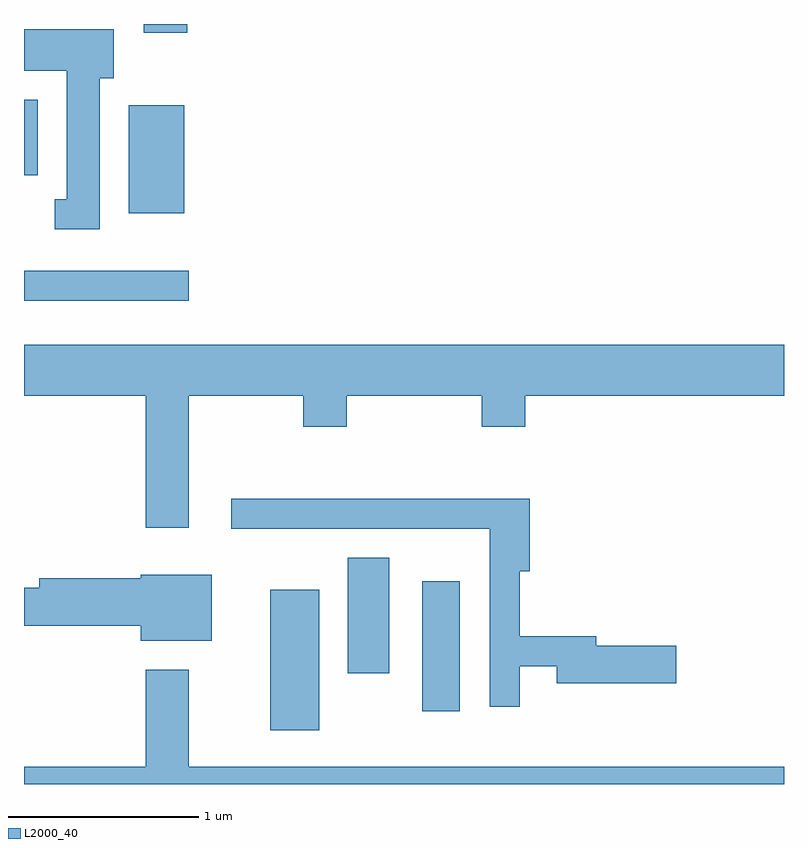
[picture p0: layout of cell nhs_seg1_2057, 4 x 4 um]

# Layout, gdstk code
import gdstk
lib = gdstk.Library(unit=1e-6, precision=1e-09)
def R(c, l, rs):  # rectangles x0, y0, x1, y1
    for r in rs: c.add(gdstk.rectangle(r[:2], r[2:], *l))
def P(c, l, *ps):  # polygons
    for p in ps: c.add(gdstk.Polygon(p, *l))
L2000_40 = (2000, 40)

nhs_seg1_2057 = lib.new_cell('nhs_seg1_2057')
R(nhs_seg1_2057, L2000_40, [(248.906,939.996,249.164,940.734), (249.706,940.096,249.904,940.779), (249.316,940.296,249.534,940.904), (247.611,942.256,248.478,942.414), (248.161,942.716,248.454,943.284), (247.611,942.916,247.684,943.314), (248.241,943.666,248.469,943.712)])
P(nhs_seg1_2057, L2000_40, [(248.009,943.426),(248.084,943.426),(248.084,943.684),(247.611,943.684),(247.611,943.466),(247.836,943.466),(247.836,942.789),(247.773,942.789),(247.773,942.631),(248.009,942.631)],
  [(248.479,941.756),(249.081,941.756),(249.081,941.591),(249.309,941.591),(249.309,941.756),(250.021,941.756),(250.021,941.591),(250.249,941.591),(250.249,941.756),(251.611,941.756),(251.611,942.024),(247.611,942.024),(247.611,941.756),(248.251,941.756),(248.251,941.061),(248.479,941.061)],
  [(250.219,940.331),(250.416,940.331),(250.416,940.241),(251.044,940.241),(251.044,940.439),(250.624,940.439),(250.624,940.489),(250.219,940.489),(250.219,940.831),(250.274,940.831),(250.274,941.214),(248.703,941.214),(248.703,941.056),(250.061,941.056),(250.061,940.118),(250.219,940.118)],
  [(248.599,940.814),(248.226,940.814),(248.226,940.794),(247.691,940.794),(247.691,940.744),(247.611,940.744),(247.611,940.546),(248.226,940.546),(248.226,940.466),(248.599,940.466)],
  [(251.611,939.804),(248.479,939.804),(248.479,940.314),(248.251,940.314),(248.251,939.804),(247.611,939.804),(247.611,939.712),(251.611,939.712)])

lib.write_gds('nhs_seg1_2057.gds')
